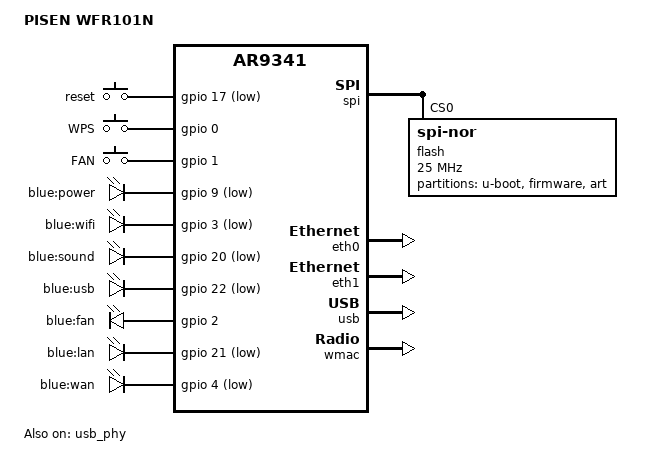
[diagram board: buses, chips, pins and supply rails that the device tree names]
// SPDX-License-Identifier: GPL-2.0-or-later OR MIT

#include "ar9341.dtsi"

#include <dt-bindings/gpio/gpio.h>
#include <dt-bindings/input/input.h>


/ {
	model = "PISEN WFR101N";
	compatible = "pisen,wfr101n", "qca,ar9341";

	aliases {
	    label-mac-device = &wmac;
		
	};

	keys {
		compatible = "gpio-keys";

		reset {
			label = "reset";
			linux,code = <KEY_RESTART>;
			gpios = <&gpio 17 GPIO_ACTIVE_LOW>;
			debounce-interval = <60>;
		};

    wps {
			label = "WPS";
			linux,code = <KEY_WPS_BUTTON>;
			gpios = <&gpio 0 GPIO_ACTIVE_HIGH>;
			debounce-interval = <60>;
		};
	
	fan {
			label = "FAN";
			linux,code = <BTN_0>;
			gpios = <&gpio 1 GPIO_ACTIVE_HIGH>;
			debounce-interval = <60>;
		};
	};
	
	leds {
		compatible = "gpio-leds";

		led_power_blue: power_blue {
			label = "blue:power";
			gpios = <&gpio 9 GPIO_ACTIVE_LOW>;
			default-state = "on";
		};

        wifi_blue {
			label = "blue:wifi";
			gpios = <&gpio 3 GPIO_ACTIVE_LOW>;
			linux,default-trigger = "phy0tpt";
		};

		sound_blue {
			label = "blue:sound";
			gpios = <&gpio 20 GPIO_ACTIVE_LOW>;
		};

		usb_blue {
			label = "blue:usb";
			gpios = <&gpio 22 GPIO_ACTIVE_LOW>;
		    trigger-sources = <&hub_port>;
		    linux,default-trigger = "usbport";
		};
		
		fan_blue {
			label = "blue:fan";
			gpios = <&gpio 2 GPIO_ACTIVE_HIGH>;
		};

		lan_blue {
			label = "blue:lan";
			gpios = <&gpio 21 GPIO_ACTIVE_LOW>;
			linux,default-trigger = "eth0";
		};

		wan_blue {
			label = "blue:wan";
			gpios = <&gpio 4 GPIO_ACTIVE_LOW>;
			linux,default-trigger = "eth1";
		};
	};
};

&ref {
	clock-frequency = <25000000>;
};

&spi {
	status = "okay";

	flash@0 {
		compatible = "jedec,spi-nor";
		reg = <0>;
		spi-max-frequency = <25000000>;

		partitions {
			compatible = "fixed-partitions";
			#address-cells = <1>;
			#size-cells = <1>;

			uboot: partition@0 {
				label = "u-boot";
				reg = <0x0 0x10000>;
				read-only;
			};

			partition@20000 {
				compatible = "tplink,firmware";
				label = "firmware";
				reg = <0x020000 0xfd0000>;
			};

			art: partition@ff0000 {
				label = "art";
				reg = <0xff0000 0x010000>;
				read-only;
			};
		};
	};
};

&eth0 {
    
	status = "okay";
	nvmem-cells = <&macaddr_art_0>;
	nvmem-cell-names = "mac-address";
};

&eth1 {
	
	status = "okay";

    nvmem-cells = <&macaddr_art_0>;
	nvmem-cell-names = "mac-address";
	mac-address-increment = <1>;
};

&usb {
	status = "okay";
};

&usb_phy {
	status = "okay";
};

&wmac {
	status = "okay";
	mtd-cal-data = <&art 0x1000>;
};

&art {
	compatible = "nvmem-cells";
	#address-cells = <1>;
	#size-cells = <1>;

		macaddr_art_0: macaddr@0 {
		reg = <0x0 0x6>;
	};
};
